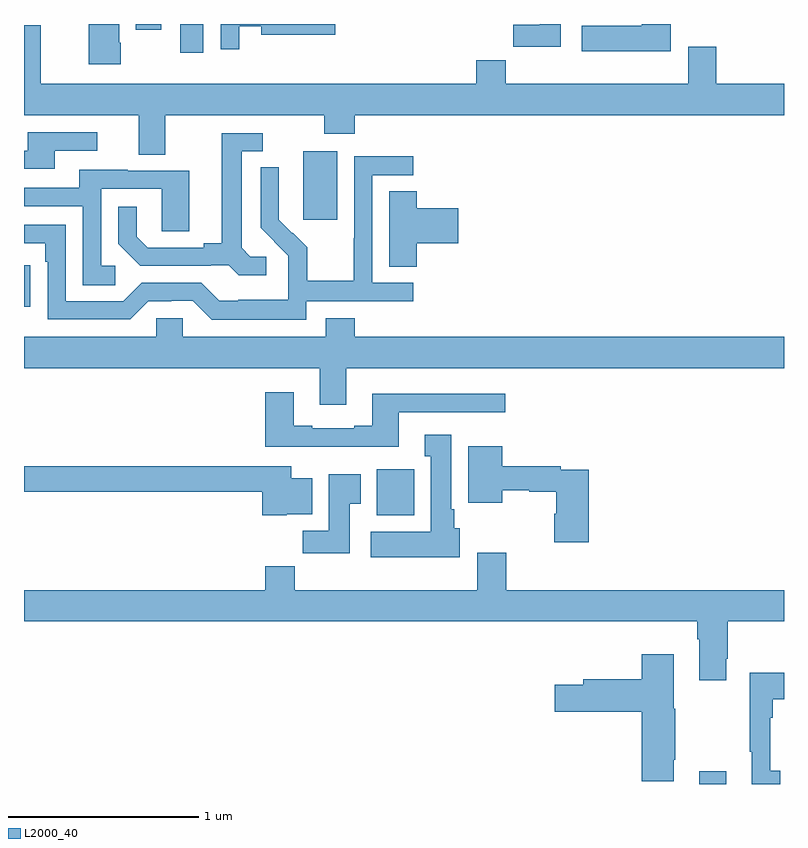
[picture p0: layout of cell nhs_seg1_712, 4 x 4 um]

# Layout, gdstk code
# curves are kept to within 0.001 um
import gdstk
lib = gdstk.Library(unit=1e-6, precision=1e-09)
def R(c, l, rs):  # rectangles x0, y0, x1, y1
    for r in rs: c.add(gdstk.rectangle(r[:2], r[2:], *l))
def P(c, l, *ps):  # polygons
    for p in ps: c.add(gdstk.Polygon(p, *l))
L2000_40 = (2000, 40)

nhs_seg1_712 = lib.new_cell('nhs_seg1_712')
R(nhs_seg1_712, L2000_40, [(152.555,560.199,152.695,560.266), (150.857,561.614,151.054,561.856), (149,562.71,149.033,562.928), (150.47,563.169,150.649,563.53), (149.822,564.048,149.944,564.199), (149.588,564.168,149.722,564.199)])
P(nhs_seg1_712, L2000_40, [(152.404,564.199),(152.252,564.199),(152.252,564.19),(151.935,564.19),(151.935,564.056),(152.404,564.056)],
  [(149.508,564.1),(149.5,564.1),(149.5,564.199),(149.342,564.199),(149.342,563.988),(149.508,563.988)],
  [(151.825,564.199),(151.715,564.199),(151.715,564.196),(151.576,564.196),(151.576,564.078),(151.825,564.078)],
  [(150.132,564.186),(150.248,564.186),(150.248,564.143),(150.637,564.143),(150.637,564.199),(150.036,564.199),(150.036,564.066),(150.132,564.066)],
  [(149.743,563.72),(150.58,563.72),(150.58,563.621),(150.74,563.621),(150.74,563.72),(153,563.72),(153,563.884),(152.643,563.884),(152.643,564.079),(152.495,564.079),(152.495,563.884),(151.535,563.884),(151.535,564.008),(151.379,564.008),(151.379,563.884),(149.089,563.884),(149.089,564.193),(149,564.193),(149,563.72),(149.603,563.72),(149.603,563.512),(149.743,563.512)],
  [(149.161,563.532),(149.386,563.532),(149.386,563.628),(149.021,563.628),(149.021,563.532),(149,563.532),(149,563.436),(149.161,563.436)],
  [(150.274,562.974),(150.192,562.974),(150.145,563.021),(150.145,563.529),(150.256,563.529),(150.256,563.625),(150.041,563.625),(150.041,563.045),(149.945,563.045),(149.945,563.022),(149.65,563.022),(149.593,563.079),(149.593,563.236),(149.496,563.236),(149.496,563.042),(149.612,562.926),(149.984,562.926),(149.984,562.929),(150.078,562.929),(150.13,562.877),(150.274,562.877)],
  [(150.486,562.74),(151.048,562.74),(151.048,562.836),(150.834,562.836),(150.834,563.403),(151.048,563.403),(151.048,563.502),(150.738,563.502),(150.738,563.072),(150.736,563.072),(150.736,562.849),(150.491,562.849),(150.491,563.023),(150.414,563.1),(150.411,563.097),(150.341,563.168),(150.342,563.444),(150.246,563.444),(150.246,563.126),(150.392,562.978),(150.392,562.881),(150.39,562.881),(150.39,562.747),(150.127,562.747),(150.127,562.743),(150.027,562.743),(149.934,562.836),(149.619,562.836),(149.523,562.74),(149.22,562.74),(149.22,563.142),(149,563.142),(149,563.046),(149.111,563.046),(149.111,562.949),(149.124,562.949),(149.124,562.644),(149.559,562.644),(149.655,562.74),(149.774,562.74),(149.774,562.743),(149.889,562.743),(149.989,562.643),(150.486,562.643)],
  [(149.479,562.926),(149.406,562.926),(149.406,563.331),(149.724,563.331),(149.724,563.107),(149.869,563.107),(149.869,563.427),(149.545,563.427),(149.545,563.431),(149.291,563.431),(149.291,563.337),(149,563.337),(149,563.241),(149.31,563.241),(149.31,562.825),(149.479,562.825)],
  [(151.067,563.045),(151.285,563.045),(151.285,563.228),(151.067,563.228),(151.067,563.318),(150.923,563.318),(150.923,562.921),(151.067,562.921)],
  [(150.697,562.388),(153,562.388),(153,562.552),(150.74,562.552),(150.74,562.651),(150.587,562.651),(150.587,562.552),(149.835,562.552),(149.835,562.65),(149.697,562.65),(149.697,562.552),(149,562.552),(149,562.388),(150.557,562.388),(150.557,562.194),(150.697,562.194)],
  [(150.973,562.155),(151.534,562.155),(151.534,562.252),(150.833,562.252),(150.833,562.084),(150.737,562.084),(150.737,562.071),(150.517,562.071),(150.517,562.084),(150.421,562.084),(150.421,562.261),(150.269,562.261),(150.269,561.974),(150.973,561.974)],
  [(151.294,561.546),(151.264,561.546),(151.264,561.646),(151.249,561.646),(151.249,562.036),(151.109,562.036),(151.109,561.923),(151.142,561.923),(151.142,561.526),(150.825,561.526),(150.825,561.392),(151.294,561.392)],
  [(151.973,561.852),(151.826,561.852),(151.826,561.872),(151.516,561.872),(151.516,561.976),(151.337,561.976),(151.337,561.68),(151.516,561.68),(151.516,561.744),(151.659,561.744),(151.659,561.736),(151.802,561.736),(151.802,561.621),(151.79,561.621),(151.79,561.471),(151.973,561.471)],
  [(150.384,561.62),(150.517,561.62),(150.517,561.808),(150.406,561.808),(150.406,561.872),(149,561.872),(149,561.736),(150.254,561.736),(150.254,561.614),(150.384,561.614)],
  [(150.715,561.673),(150.772,561.673),(150.772,561.829),(150.605,561.829),(150.605,561.532),(150.466,561.532),(150.466,561.414),(150.715,561.414)],
  [(152.695,560.857),(152.703,560.857),(152.703,561.056),(153,561.056),(153,561.22),(151.538,561.22),(151.538,561.415),(151.385,561.415),(151.385,561.22),(150.425,561.22),(150.425,561.344),(150.269,561.344),(150.269,561.22),(149,561.22),(149,561.056),(152.543,561.056),(152.543,560.96),(152.555,560.96),(152.555,560.745),(152.695,560.745)],
  [(152.419,560.326),(152.427,560.326),(152.427,560.595),(152.419,560.595),(152.419,560.881),(152.252,560.881),(152.252,560.751),(151.943,560.751),(151.943,560.721),(151.794,560.721),(151.794,560.579),(152.252,560.579),(152.252,560.214),(152.419,560.214)],
  [(152.98,560.27),(152.928,560.27),(152.928,560.549),(152.941,560.549),(152.941,560.645),(153,560.645),(153,560.785),(152.82,560.785),(152.82,560.369),(152.831,560.369),(152.831,560.199),(152.98,560.199)])

lib.write_gds('nhs_seg1_712.gds')
